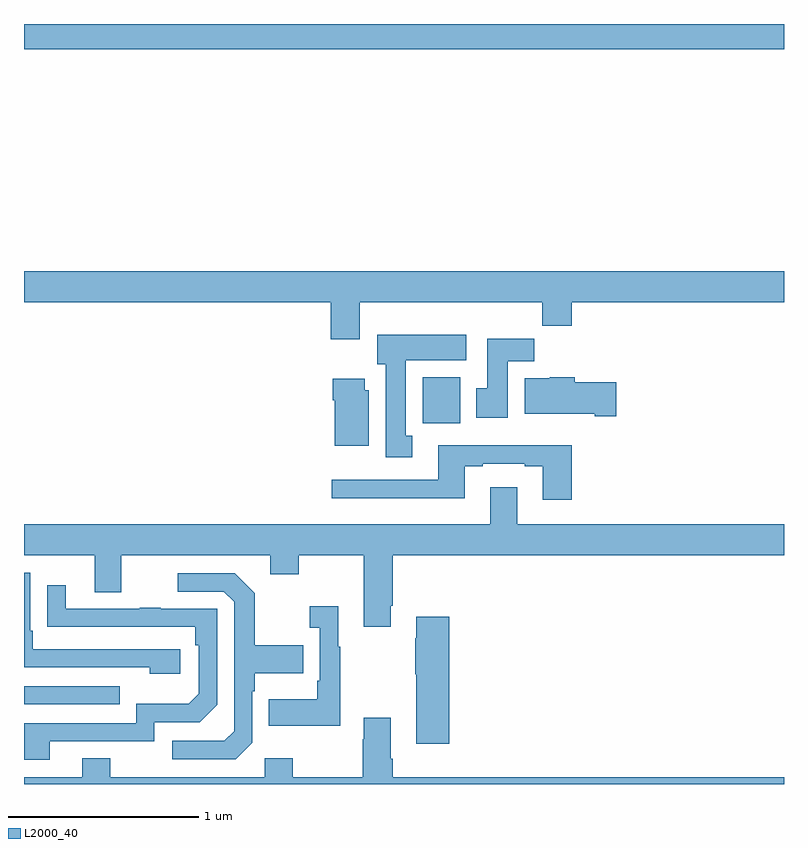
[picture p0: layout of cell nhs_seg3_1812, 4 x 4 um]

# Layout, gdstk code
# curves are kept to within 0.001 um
import gdstk
lib = gdstk.Library(unit=1e-6, precision=1e-09)
def R(c, l, rs):  # rectangles x0, y0, x1, y1
    for r in rs: c.add(gdstk.rectangle(r[:2], r[2:], *l))
def P(c, l, *ps):  # polygons
    for p in ps: c.add(gdstk.Polygon(p, *l))
L2000_40 = (2000, 40)

nhs_seg3_1812 = lib.new_cell('nhs_seg3_1812')
R(nhs_seg3_1812, L2000_40, [(205,678.819,205.505,678.915), (207.098,680.3,207.295,680.542), (205,682.268,209,682.4)])
P(nhs_seg3_1812, L2000_40, [(206.767,680.936),(207.727,680.936),(207.727,680.812),(207.884,680.812),(207.884,680.936),(209,680.936),(209,681.1),(205,681.1),(205,680.936),(206.615,680.936),(206.615,680.742),(206.767,680.742)],
  [(207.043,680.234),(207.01,680.234),(207.01,680.63),(207.328,680.63),(207.328,680.764),(206.858,680.764),(206.858,680.61),(206.903,680.61),(206.903,680.121),(207.043,680.121)],
  [(207.547,680.624),(207.686,680.624),(207.686,680.743),(207.437,680.743),(207.437,680.484),(207.38,680.484),(207.38,680.328),(207.547,680.328)],
  [(208.117,680.514),(207.899,680.514),(207.899,680.542),(207.768,680.542),(207.768,680.536),(207.635,680.536),(207.635,680.348),(208.004,680.348),(208.004,680.336),(208.117,680.336)],
  [(206.815,680.472),(206.794,680.472),(206.794,680.533),(206.624,680.533),(206.624,680.42),(206.636,680.42),(206.636,680.18),(206.815,680.18)],
  [(207.884,680.182),(207.179,680.182),(207.179,680.001),(206.619,680.001),(206.619,679.904),(207.319,679.904),(207.319,680.073),(207.415,680.073),(207.415,680.085),(207.635,680.085),(207.635,680.073),(207.731,680.073),(207.731,679.896),(207.884,679.896)],
  [(206.929,679.339),(206.942,679.339),(206.942,679.604),(209,679.604),(209,679.768),(207.595,679.768),(207.595,679.963),(207.455,679.963),(207.455,679.768),(205,679.768),(205,679.604),(205.373,679.604),(205.373,679.41),(205.513,679.41),(205.513,679.604),(206.297,679.604),(206.297,679.505),(206.445,679.505),(206.445,679.604),(206.789,679.604),(206.789,679.227),(206.929,679.227)],
  [(205.822,679.11),(205.045,679.11),(205.045,679.207),(205.032,679.207),(205.032,679.512),(205,679.512),(205,679.014),(205.661,679.014),(205.661,678.98),(205.822,678.98)],
  [(206.202,678.618),(206.202,678.887),(206.215,678.887),(206.215,678.983),(206.471,678.983),(206.471,679.131),(206.215,679.131),(206.215,679.403),(206.109,679.509),(205.809,679.509),(205.809,679.413),(206.052,679.413),(206.106,679.359),(206.106,678.678),(206.055,678.627),(205.779,678.627),(205.779,678.531),(206.115,678.531)],
  [(205.135,678.624),(205.686,678.624),(205.686,678.726),(205.926,678.726),(206.016,678.816),(206.016,679.323),(205.721,679.323),(205.721,679.328),(205.609,679.328),(205.609,679.323),(205.219,679.323),(205.219,679.447),(205.123,679.447),(205.123,679.228),(205.9,679.227),(205.9,679.13),(205.92,679.13),(205.92,678.876),(205.867,678.823),(205.59,678.823),(205.59,678.72),(205,678.72),(205,678.528),(205.135,678.528)],
  [(206.665,679.123),(206.653,679.123),(206.653,679.336),(206.505,679.336),(206.505,679.223),(206.556,679.223),(206.556,678.943),(206.544,678.943),(206.544,678.847),(206.287,678.847),(206.287,678.707),(206.665,678.707)],
  [(207.238,679.279),(207.065,679.279),(207.065,679.166),(207.058,679.166),(207.058,678.977),(207.065,678.977),(207.065,678.612),(207.238,678.612)],
  [(206.929,678.532),(206.929,678.748),(206.789,678.748),(206.789,678.635),(206.782,678.635),(206.782,678.436),(206.415,678.436),(206.415,678.535),(206.268,678.535),(206.268,678.436),(205.455,678.436),(205.455,678.535),(205.307,678.535),(205.307,678.436),(205,678.436),(205,678.4),(209,678.4),(209,678.436),(206.942,678.436),(206.942,678.532)])

lib.write_gds('nhs_seg3_1812.gds')
